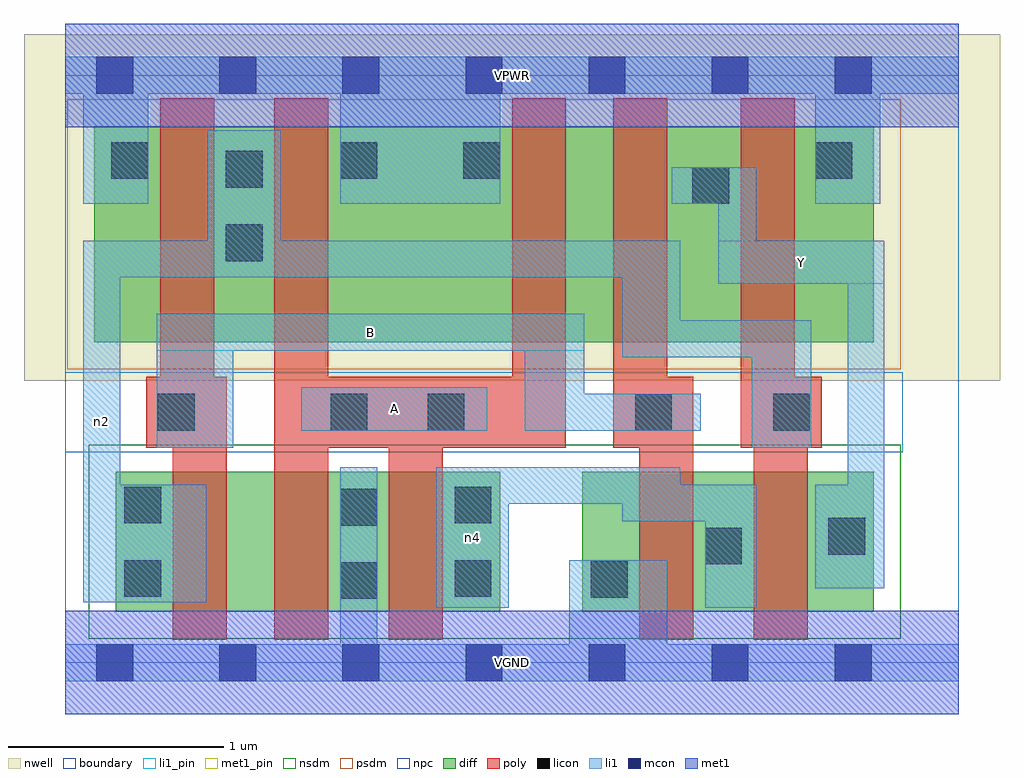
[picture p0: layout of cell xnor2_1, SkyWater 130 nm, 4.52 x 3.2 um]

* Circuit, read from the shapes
.subckt xnor2_1 A B VGND VPWR Y n2 n4
XM1 n1 B n2 VSUBS sky130_fd_pr__nfet_01v8 w=0.65 l=0.25
XM2 VGND A n1 VSUBS sky130_fd_pr__nfet_01v8 w=0.65 l=0.25
XM3 n4 A VGND VSUBS sky130_fd_pr__nfet_01v8 w=0.65 l=0.25
XM4 n4 B VGND VSUBS sky130_fd_pr__nfet_01v8 w=0.65 l=0.25
XM5 Y n2 n4 VSUBS sky130_fd_pr__nfet_01v8 w=0.65 l=0.25
XM6 n2 B VPWR n3 sky130_fd_pr__pfet_01v8 w=1 l=0.25
XM7 VPWR A n2 n3 sky130_fd_pr__pfet_01v8 w=1 l=0.25
XM8 n5 A VPWR n3 sky130_fd_pr__pfet_01v8 w=1 l=0.25
XM9 Y B n5 n3 sky130_fd_pr__pfet_01v8 w=1 l=0.25
XM10 VPWR n2 Y n3 sky130_fd_pr__pfet_01v8 w=1 l=0.25
.ends

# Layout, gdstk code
import gdstk
lib = gdstk.Library(unit=1e-6, precision=1e-09)
def R(c, l, rs):  # rectangles x0, y0, x1, y1
    for r in rs: c.add(gdstk.rectangle(r[:2], r[2:], *l))
def A(c, l, x, y, w, h, nx, ny, dx, dy):  # array of equal rectangles
    R(c, l, [(x+i*dx, y+j*dy, x+i*dx+w, y+j*dy+h) for i in range(nx) for j in range(ny)])
nwell = (64, 20)
diff = (65, 20)
poly = (66, 20)
licon = (66, 44)
li1_pin = (67, 16)
li1 = (67, 20)
mcon = (67, 44)
met1_pin = (68, 16)
met1 = (68, 20)
nsdm = (93, 44)
psdm = (94, 20)
npc = (95, 20)
boundary = (235, 4)

xnor2_1 = lib.new_cell('xnor2_1')
R(xnor2_1, nwell, [(-0.19,1.305,4.33,2.91), (0,1.305,4.14,2.91)])
R(xnor2_1, diff, [(0.235,0.235,2.015,0.885), (2.395,0.235,3.745,0.885), (0.135,1.485,3.745,2.485)])
R(xnor2_1, poly, [(0.5,0.105,0.75,1.325), (0.97,0.105,1.22,2.615), (1.5,0.105,1.75,1.325), (2.66,0.105,2.91,1.325), (3.19,0.105,3.44,1.325), (0.375,0.995,0.75,1.325), (0.44,0.995,0.69,2.615), (0.97,0.995,2.32,1.325), (2.07,0.995,2.32,2.615), (2.54,0.995,2.79,2.615), (3.13,0.995,3.505,1.325), (3.13,0.995,3.38,2.615)])
R(xnor2_1, licon, [(1.275,0.295,1.445,0.465), (2.435,0.3,2.605,0.47), (0.275,0.305,0.445,0.475), (1.805,0.305,1.975,0.475), (2.965,0.455,3.135,0.625), (3.535,0.5,3.705,0.67), (1.275,0.635,1.445,0.805), (0.275,0.645,0.445,0.815), (1.805,0.645,1.975,0.815), (0.43,1.075,0.6,1.245), (1.23,1.075,1.4,1.245), (1.68,1.075,1.85,1.245), (2.64,1.075,2.81,1.245), (3.28,1.075,3.45,1.245), (0.745,1.86,0.915,2.03), (2.905,2.125,3.075,2.295), (0.745,2.2,0.915,2.37), (0.215,2.24,0.385,2.41), (1.275,2.24,1.445,2.41), (1.845,2.24,2.015,2.41), (3.475,2.24,3.645,2.41)])
R(xnor2_1, li1_pin, [(1.095,1.075,1.955,1.275), (0.425,1.445,2.405,1.615), (3.025,1.755,3.795,1.955)])
R(xnor2_1, li1, [(0,-0.085,4.14,0.085), (1.275,-0.085,1.445,0.905), (2.335,-0.085,2.79,0.475), (1.72,0.255,2.055,0.905), (2.965,0.255,3.2,0.825), (0.085,0.28,0.255,1.955), (0.085,0.28,0.655,0.825), (3.475,0.345,3.795,0.825), (3.625,0.345,3.795,1.955), (2.58,0.655,3.2,0.825), (1.72,0.735,2.85,0.905), (0.425,0.995,0.78,1.615), (3.18,0.995,3.455,1.585), (1.095,1.075,1.955,1.275), (2.13,1.075,2.945,1.245), (2.13,1.075,2.405,1.615), (2.58,1.415,3.455,1.585), (2.58,1.415,2.85,1.955), (0.425,1.445,2.405,1.615), (3.025,1.755,3.795,1.955), (3.025,1.755,3.2,2.295), (0.085,1.785,2.85,1.955), (0.66,1.785,1,2.465), (0.085,2.125,0.385,2.805), (1.275,2.125,2.015,2.805), (2.81,2.125,3.2,2.295), (3.475,2.125,3.775,2.805), (0,2.635,4.14,2.805)])
A(xnor2_1, mcon, 0.145, -0.085, 0.17, 0.17, 7, 2, 0.57, 2.72)
R(xnor2_1, met1_pin, [(0,-0.24,4.14,0.24), (0,2.48,4.14,2.96)])
R(xnor2_1, met1, [(0,-0.24,4.14,0.24), (0,2.48,4.14,2.96)])
R(xnor2_1, nsdm, [(0.11,0.11,3.87,1.01)])
R(xnor2_1, psdm, [(0.01,1.36,3.87,2.61)])
R(xnor2_1, npc, [(0,0.975,3.88,1.345)])
R(xnor2_1, boundary, [(0,0,4.14,2.72)])
xnor2_1.add(gdstk.Label('A', (1.525,1.175), layer=67, texttype=5))
xnor2_1.add(gdstk.Label('B', (1.415,1.53), layer=67, texttype=5))
xnor2_1.add(gdstk.Label('Y', (3.41,1.855), layer=67, texttype=5))
xnor2_1.add(gdstk.Label('n4', (1.887,0.58), layer=67, texttype=5))
xnor2_1.add(gdstk.Label('n2', (0.17,1.117), layer=67, texttype=5))
xnor2_1.add(gdstk.Label('VPWR', (2.07,2.72), layer=68, texttype=5))
xnor2_1.add(gdstk.Label('VGND', (2.07,0), layer=68, texttype=5))
xnor2_1.add(gdstk.Label('A', (1.525,1.175), layer=67, texttype=16))
xnor2_1.add(gdstk.Label('B', (1.415,1.53), layer=67, texttype=16))
xnor2_1.add(gdstk.Label('Y', (3.41,1.855), layer=67, texttype=16))
xnor2_1.add(gdstk.Label('VPWR', (2.07,2.72), layer=68, texttype=16))
xnor2_1.add(gdstk.Label('VGND', (2.07,0), layer=68, texttype=16))

lib.write_gds('xnor2_1.gds')
